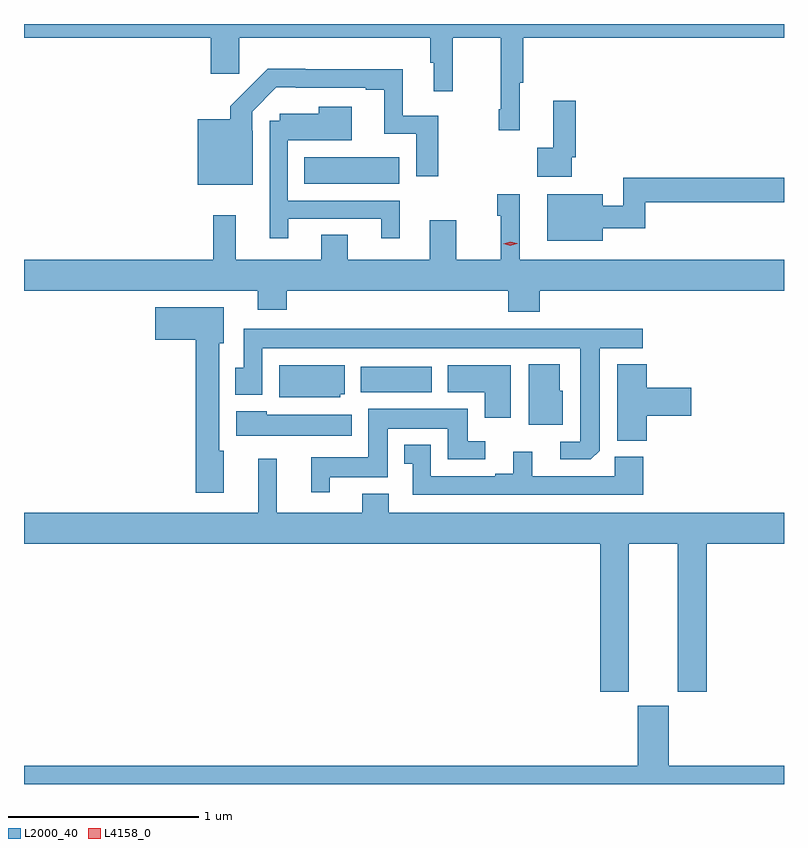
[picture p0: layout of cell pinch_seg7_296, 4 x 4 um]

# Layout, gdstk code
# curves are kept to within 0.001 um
import gdstk
lib = gdstk.Library(unit=1e-6, precision=1e-09)
def R(c, l, rs):  # rectangles x0, y0, x1, y1
    for r in rs: c.add(gdstk.rectangle(r[:2], r[2:], *l))
def P(c, l, *ps):  # polygons
    for p in ps: c.add(gdstk.Polygon(p, *l))
L2000_40 = (2000, 40)
L4158_0 = (4158, 0)

pinch_seg7_296 = lib.new_cell('pinch_seg7_296')
R(pinch_seg7_296, L2000_40, [(552.717,1045.37,553.09,1045.504), (552.418,1046.468,552.919,1046.608)])
P(pinch_seg7_296, L2000_40, [(553.553,1047),(553.571,1047),(553.571,1047.236),(554.944,1047.236),(554.944,1047.308),(550.944,1047.308),(550.944,1047.236),(551.927,1047.236),(551.927,1047.045),(552.077,1047.045),(552.077,1047.236),(553.081,1047.236),(553.081,1047.103),(553.1,1047.103),(553.1,1046.955),(553.2,1046.955),(553.2,1047.236),(553.453,1047.236),(553.453,1046.86),(553.443,1046.86),(553.443,1046.748),(553.553,1046.748)],
  [(552.147,1046.747),(552.144,1046.747),(552.144,1046.847),(552.272,1046.975),(552.373,1046.975),(552.373,1046.973),(552.743,1046.973),(552.743,1046.961),(552.839,1046.961),(552.839,1046.73),(553.008,1046.73),(553.008,1046.508),(553.124,1046.508),(553.124,1046.826),(552.937,1046.826),(552.937,1047.07),(552.425,1047.07),(552.425,1047.073),(552.226,1047.073),(552.029,1046.875),(552.029,1046.806),(551.858,1046.806),(551.858,1046.462),(552.147,1046.462)],
  [(553.827,1046.608),(553.847,1046.608),(553.847,1046.905),(553.73,1046.905),(553.73,1046.657),(553.644,1046.657),(553.644,1046.504),(553.827,1046.504)],
  [(552.334,1046.283),(552.824,1046.283),(552.824,1046.18),(552.922,1046.18),(552.922,1046.379),(552.333,1046.379),(552.333,1046.696),(552.67,1046.696),(552.67,1046.872),(552.494,1046.872),(552.494,1046.836),(552.291,1046.836),(552.291,1046.799),(552.237,1046.799),(552.237,1046.18),(552.334,1046.18)],
  [(553.99,1046.234),(554.213,1046.234),(554.213,1046.37),(554.944,1046.37),(554.944,1046.498),(554.097,1046.498),(554.097,1046.351),(553.99,1046.351),(553.99,1046.413),(553.697,1046.413),(553.697,1046.168),(553.99,1046.168)],
  [(553.658,1045.904),(554.944,1045.904),(554.944,1046.068),(553.552,1046.068),(553.552,1046.413),(553.435,1046.413),(553.435,1046.3),(553.453,1046.3),(553.453,1046.068),(553.219,1046.068),(553.219,1046.275),(553.079,1046.275),(553.079,1046.068),(552.649,1046.068),(552.649,1046.198),(552.509,1046.198),(552.509,1046.068),(552.059,1046.068),(552.059,1046.302),(551.941,1046.302),(551.941,1046.068),(550.944,1046.068),(550.944,1045.904),(552.173,1045.904),(552.173,1045.805),(552.326,1045.805),(552.326,1045.904),(553.493,1045.904),(553.493,1045.793),(553.658,1045.793)],
  [(551.995,1045.062),(551.971,1045.062),(551.971,1045.629),(551.995,1045.629),(551.995,1045.816),(551.634,1045.816),(551.634,1045.646),(551.849,1045.646),(551.849,1044.84),(551.995,1044.84)],
  [(553.974,1045.063),(553.975,1045.601),(554.2,1045.601),(554.2,1045.705),(552.101,1045.705),(552.101,1045.5),(552.056,1045.5),(552.056,1045.356),(552.198,1045.356),(552.198,1045.601),(553.871,1045.601),(553.871,1045.11),(553.767,1045.11),(553.767,1045.017),(553.928,1045.017)],
  [(554.222,1045.247),(554.455,1045.247),(554.455,1045.394),(554.222,1045.394),(554.222,1045.516),(554.066,1045.516),(554.066,1045.115),(554.222,1045.115)],
  [(553.78,1045.377),(553.765,1045.377),(553.765,1045.516),(553.601,1045.516),(553.601,1045.2),(553.78,1045.2)],
  [(553.507,1045.513),(553.175,1045.513),(553.175,1045.37),(553.37,1045.37),(553.37,1045.236),(553.507,1045.236)],
  [(552.609,1045.359),(552.631,1045.359),(552.631,1045.513),(552.287,1045.513),(552.287,1045.343),(552.609,1045.343)],
  [(552.553,1044.923),(552.859,1044.923),(552.859,1045.178),(553.175,1045.178),(553.175,1045.017),(553.372,1045.017),(553.372,1045.113),(553.279,1045.113),(553.279,1045.282),(552.755,1045.282),(552.755,1045.027),(552.455,1045.027),(552.455,1044.843),(552.553,1044.843)],
  [(552.67,1045.252),(552.222,1045.252),(552.222,1045.27),(552.06,1045.27),(552.06,1045.142),(552.67,1045.142)],
  [(554.204,1045.03),(554.052,1045.03),(554.052,1044.927),(553.618,1044.927),(553.618,1045.057),(553.52,1045.057),(553.52,1044.94),(553.424,1044.94),(553.424,1044.927),(553.086,1044.927),(553.086,1045.093),(552.944,1045.093),(552.944,1044.993),(552.99,1044.993),(552.99,1044.831),(554.204,1044.831)],
  [(554.128,1044.572),(554.384,1044.572),(554.384,1043.793),(554.537,1043.793),(554.537,1044.572),(554.944,1044.572),(554.944,1044.736),(552.865,1044.736),(552.865,1044.835),(552.725,1044.835),(552.725,1044.736),(552.275,1044.736),(552.275,1045.021),(552.176,1045.021),(552.176,1044.736),(550.944,1044.736),(550.944,1044.572),(553.976,1044.572),(553.976,1043.793),(554.128,1043.793)],
  [(554.944,1043.404),(554.338,1043.404),(554.338,1043.721),(554.174,1043.721),(554.174,1043.404),(550.944,1043.404),(550.944,1043.308),(554.944,1043.308)])
P(pinch_seg7_296, L4158_0, [(553.503,1046.142),(553.467,1046.151),(553.466,1046.151),(553.467,1046.151),(553.502,1046.162),(553.539,1046.153),(553.539,1046.152),(553.539,1046.152)])

lib.write_gds('pinch_seg7_296.gds')
